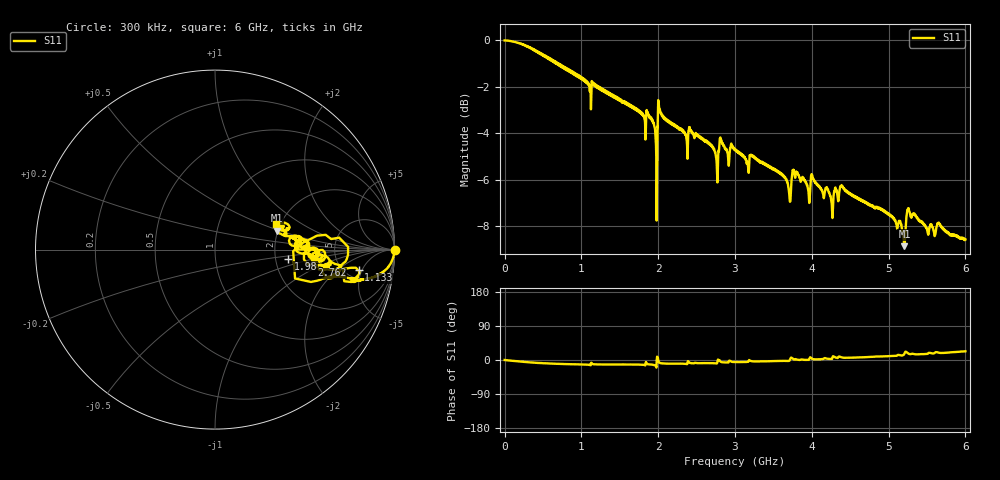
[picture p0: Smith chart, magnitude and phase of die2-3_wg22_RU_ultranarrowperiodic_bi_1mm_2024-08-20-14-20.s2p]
!Keysight Technologies,P9374A,MY57304198,A.17.20.09
!Date: Tuesday, August 20, 2024 14:20:10
!Correction: S11(C  1-Port  )
!S21(C  1-Port  )
!S12(Off)
!S22(Off)
!S2P File: Measurements: S11, S21, S12, S22:
# Hz S  dB  R 50
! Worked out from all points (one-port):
!   6000 points, 300 kHz to 6 GHz, reference 50 ohm
!   lowest |S11| = -8.9 dB at 5.206 GHz (marker M1), VSWR 2.12, Z = 98.6 + j23.9 ohm
!   |S11| at or under -10 dB: nowhere
!   S11 on the Smith chart (normalised r, x): 300 kHz: open; 1.133 GHz: 6.50, -4.34; 1.98 GHz: 2.34, -0.28; 2.762 GHz: 3.16, -0.79; 6 GHz: 1.90, +0.64
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300000  0.00 -0.0  -200.00 45.0  -200.00 45.0  -200.00 45.0
4.37351e8  -0.48 -7.5  -200.00 45.0  -200.00 45.0  -200.00 45.0
1.000417e9  -1.64 -11.8  -200.00 45.0  -200.00 45.0  -200.00 45.0
1.133432e9  -1.85 -8.2  -200.00 45.0  -200.00 45.0  -200.00 45.0
1.874519e9  -3.23 -11.4  -200.00 45.0  -200.00 45.0  -200.00 45.0
1.947527e9  -3.67 -13.1  -200.00 45.0  -200.00 45.0  -200.00 45.0
1.979531e9  -7.77 -7.1  -200.00 45.0  -200.00 45.0  -200.00 45.0
2.000533e9  -2.57 -1.3  -200.00 45.0  -200.00 45.0  -200.00 45.0
2.024536e9  -3.05 -7.9  -200.00 45.0  -200.00 45.0  -200.00 45.0
2.123548e9  -3.49 -9.6  -200.00 45.0  -200.00 45.0  -200.00 45.0
2.761622e9  -5.30 -9.3  -200.00 45.0  -200.00 45.0  -200.00 45.0
2.822629e9  -4.32 -5.5  -200.00 45.0  -200.00 45.0  -200.00 45.0
3.00065e9  -4.68 -5.4  -200.00 45.0  -200.00 45.0  -200.00 45.0
3.703732e9  -6.52 -2.2  -200.00 45.0  -200.00 45.0  -200.00 45.0
3.77474e9  -5.76 0.9  -200.00 45.0  -200.00 45.0  -200.00 45.0
4.000767e9  -5.78 3.3  -200.00 45.0  -200.00 45.0  -200.00 45.0
4.258797e9  -7.03 2.6  -200.00 45.0  -200.00 45.0  -200.00 45.0
4.396813e9  -6.32 6.5  -200.00 45.0  -200.00 45.0  -200.00 45.0
5.000883e9  -7.52 10.1  -200.00 45.0  -200.00 45.0  -200.00 45.0
5.205907e9  -8.88 17.0  -200.00 45.0  -200.00 45.0  -200.00 45.0
5.262914e9  -7.29 16.3  -200.00 45.0  -200.00 45.0  -200.00 45.0
6e9  -8.58 23.1  -200.00 45.0  -200.00 45.0  -200.00 45.0
